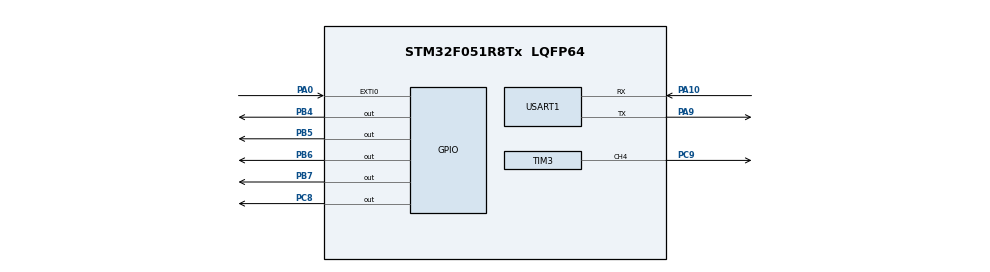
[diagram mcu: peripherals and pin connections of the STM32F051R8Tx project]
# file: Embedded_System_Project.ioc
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Mcu.Family=STM32F0
Mcu.Name=STM32F051R8Tx
Mcu.Package=LQFP64
NVIC.EXTI0_1_IRQn=true\:0\:0\:false\:false\:true\:true\:true
NVIC.TIM15_IRQn=true\:0\:0\:false\:false\:true\:true\:true
NVIC.TIM3_IRQn=true\:0\:0\:false\:false\:true\:true\:true
NVIC.USART1_IRQn=true\:0\:0\:false\:false\:true\:true\:true
PA0.Signal=GPXTI0
PA10.Mode=Asynchronous
PA10.Signal=USART1_RX
PA9.Mode=Asynchronous
PA9.Signal=USART1_TX
PB4.Signal=GPIO_Output
PB5.Signal=GPIO_Output
PB6.Signal=GPIO_Output
PB7.Signal=GPIO_Output
PC8.Signal=GPIO_Output
PC9.Signal=S_TIM3_CH4
ProjectManager.HeapSize=0x200
ProjectManager.StackSize=0x400
ProjectManager.TargetToolchain=SW4STM32
SH.S_TIM3_CH4.0=TIM3_CH4,PWM Generation4 CH4
TIM15.AutoReloadPreload=TIM_AUTORELOAD_PRELOAD_ENABLE
TIM15.ClockDivision=TIM_CLOCKDIVISION_DIV1
TIM15.Period=250
TIM15.Prescaler=78
TIM3.AutoReloadPreload=TIM_AUTORELOAD_PRELOAD_ENABLE
TIM3.Channel-PWM\ Generation4\ CH4=TIM_CHANNEL_4
TIM3.ClockDivision=TIM_CLOCKDIVISION_DIV1
TIM3.Period=100
TIM3.Prescaler=60
USART1.VirtualMode-Asynchronous=VM_ASYNC
VP_TIM15_VS_ClockSourceINT.Mode=Internal
VP_TIM3_VS_ClockSourceINT.Mode=Internal
board=custom

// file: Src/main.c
/* USER CODE BEGIN Header */
/**
  ******************************************************************************
  * @file           : main.c
  * @brief          : Main program body
  ******************************************************************************
  * @attention
  *
  * <h2><center>&copy; Copyright (c) 2020 STMicroelectronics.
  * All rights reserved.</center></h2>
  *
  * This software component is licensed by ST under BSD 3-Clause license,
  * the "License"; You may not use this file except in compliance with the
  * License. You may obtain a copy of the License at:
  *                        opensource.org/licenses/BSD-3-Clause
  *
  ******************************************************************************
  */
/* USER CODE END Header */

#include "main.h"

/* USER CODE BEGIN PD */
#define PWM_MIN 10
#define PWM_MAX 100
#define PWM_MIN_CHANGE 10
/* USER CODE END PD */

TIM_HandleTypeDef htim3;
TIM_HandleTypeDef htim15;

UART_HandleTypeDef huart1;

/* USER CODE BEGIN PV */
uint8_t led_duty = 10;           //Duty of green LED (controlled by push button interrupts)

uint8_t uart_data[4];            //Buffer to receive data via UART1; its used to control stepper motor

//Stepper motor
uint8_t motor_phase_number = 0;  //Number of phase used to control stepper motor (0, 1, 2, 3)
uint8_t motor_direction = 0;     //0 => counter clockwise; 1 => clockwise
uint16_t motor_step_number = 0;  //Number of steps, which stepper motor
                                 //should make according to command received via UART
uint16_t motor_current_step = 0; //Current step number
/* USER CODE END PV */

void SystemClock_Config(void);
static void MX_GPIO_Init(void);
static void MX_TIM15_Init(void);
static void MX_USART1_UART_Init(void);
static void MX_TIM3_Init(void);
/* USER CODE BEGIN PFP */

//Push button 1 (USER) interrupt
void HAL_GPIO_EXTI_Callback(uint16_t GPIO_Pin);
//UART 1 receive interrupt
void HAL_UART_RxCpltCallback(UART_HandleTypeDef *huart);
//0.25 step of stepper motor
void stepperMotorQuarterStep(uint8_t* phase_number, uint8_t* direction);
//Timer 15 interrupt (indicates stepper motor steps frequency)
void HAL_TIM_PeriodElapsedCallback(TIM_HandleTypeDef *htim);

/* USER CODE END PFP */

/* USER CODE BEGIN 0 */

//Push button 1 (USER) interrupt
//Duty starts at PWM_MIN
//Increases duty by PWM_MIN_CHANGE each time user pushes the push button
//After reaching PWM_MAX, next push decreases duty to PWM_MIN
void HAL_GPIO_EXTI_Callback(uint16_t GPIO_Pin) {
	if (led_duty < PWM_MAX) {
		led_duty += PWM_MIN_CHANGE;
		__HAL_TIM_SET_COMPARE(&htim3, TIM_CHANNEL_4, led_duty);
	} else {
		led_duty = PWM_MIN;
		__HAL_TIM_SET_COMPARE(&htim3, TIM_CHANNEL_4, led_duty);
	}
}

//UART 1 receive interrupt
//UART receives messages from user
//Each message contains of 4 characters:
//1st character is a letter, which determines motor_direction
//2nd-4th characters are digits, which determine motor_step_number
void HAL_UART_RxCpltCallback(UART_HandleTypeDef *huart) {
	//Receive message uart_data, which consists of 4 bytes
	HAL_UART_Receive_IT(&huart1, &uart_data, 4);

	//Set direction to counter clockwise
	if(uart_data[0] == 'L') {
		motor_direction = 0;
	}
	//Set direction to clockwise
	else if(uart_data[0] == 'R') {
		motor_direction = 1;
	}
	//Invalid command to control a stepper motor
	else {
		/*printf("[DEBUG, ERROR] Invalid command to control a stepper motor\n");
		printf("[DEBUG, INFO] First letter (L or R) decide on direction, in which stepper motor rotates\n");
		printf("[DEBUG, INFO] L => counter clockwise; R => clockwise\n");
		printf("[DEBUG, INFO] After letter provide 3 digit number to determine number of steps\n");
		printf("[DEBUG, INFO] R001 => 1 step in clockwise direction\n");
		printf("[DEBUG, INFO] L199 => 199 steps in counter clockwise direction\n");*/
		return; //I assume there are no other types of commands
	}

	//Reset step_number and current_step before proceeding
	motor_step_number = 0;
	motor_current_step = 0;

	//Get number of steps from uart_data
	for (uint8_t i = 1; i < 4; i++) {
		if(uart_data[i] < 10) {
			motor_step_number += uart_data[i] * 10^(3-i);
		}
		else {
			/*printf("[ERROR] Number of steps contain not only digits (0-9)\n");
			printf("[INFO] Send a proper command\n");*/
			return;
		}
	}
}

//0.25 step of stepper motor
void stepperMotorQuarterStep(uint8_t* phase_number, uint8_t* direction) {

	//Counter clockwise
	if (*direction == 0) {
		switch(*phase_number) {
		case 0:
			HAL_GPIO_WritePin(GPIOB, GPIO_PIN_7, GPIO_PIN_RESET); //Stepper motor IN1
			HAL_GPIO_WritePin(GPIOB, GPIO_PIN_6, GPIO_PIN_RESET); //Stepper motor IN2
			HAL_GPIO_WritePin(GPIOB, GPIO_PIN_5, GPIO_PIN_RESET); //Stepper motor IN3
			HAL_GPIO_WritePin(GPIOB, GPIO_PIN_4, GPIO_PIN_SET);   //Stepper motor IN4
			break;
		case 1:
			HAL_GPIO_WritePin(GPIOB, GPIO_PIN_7, GPIO_PIN_RESET); //Stepper motor IN1
			HAL_GPIO_WritePin(GPIOB, GPIO_PIN_6, GPIO_PIN_RESET); //Stepper motor IN2
			HAL_GPIO_WritePin(GPIOB, GPIO_PIN_5, GPIO_PIN_SET);   //Stepper motor IN3
			HAL_GPIO_WritePin(GPIOB, GPIO_PIN_4, GPIO_PIN_RESET); //Stepper motor IN4
			break;
		case 2:
			HAL_GPIO_WritePin(GPIOB, GPIO_PIN_7, GPIO_PIN_RESET); //Stepper motor IN1
			HAL_GPIO_WritePin(GPIOB, GPIO_PIN_6, GPIO_PIN_SET);   //Stepper motor IN2
			HAL_GPIO_WritePin(GPIOB, GPIO_PIN_5, GPIO_PIN_RESET); //Stepper motor IN3
			HAL_GPIO_WritePin(GPIOB, GPIO_PIN_4, GPIO_PIN_RESET); //Stepper motor IN4
			break;
		case 3:
			HAL_GPIO_WritePin(GPIOB, GPIO_PIN_7, GPIO_PIN_SET);   //Stepper motor IN1
			HAL_GPIO_WritePin(GPIOB, GPIO_PIN_6, GPIO_PIN_RESET); //Stepper motor IN2
			HAL_GPIO_WritePin(GPIOB, GPIO_PIN_5, GPIO_PIN_RESET); //Stepper motor IN3
			HAL_GPIO_WritePin(GPIOB, GPIO_PIN_4, GPIO_PIN_RESET); //Stepper motor IN4
			break;
		}
	}

	//Clockwise
		if (*direction == 1) {
			switch(*phase_number) {
			case 0:
				HAL_GPIO_WritePin(GPIOB, GPIO_PIN_7, GPIO_PIN_SET);   //Stepper motor IN1
				HAL_GPIO_WritePin(GPIOB, GPIO_PIN_6, GPIO_PIN_RESET); //Stepper motor IN2
				HAL_GPIO_WritePin(GPIOB, GPIO_PIN_5, GPIO_PIN_RESET); //Stepper motor IN3
				HAL_GPIO_WritePin(GPIOB, GPIO_PIN_4, GPIO_PIN_RESET); //Stepper motor IN4
				break;
			case 1:
				HAL_GPIO_WritePin(GPIOB, GPIO_PIN_7, GPIO_PIN_RESET); //Stepper motor IN1
				HAL_GPIO_WritePin(GPIOB, GPIO_PIN_6, GPIO_PIN_SET);   //Stepper motor IN2
				HAL_GPIO_WritePin(GPIOB, GPIO_PIN_5, GPIO_PIN_RESET); //Stepper motor IN3
				HAL_GPIO_WritePin(GPIOB, GPIO_PIN_4, GPIO_PIN_RESET); //Stepper motor IN4
				break;
			case 2:
				HAL_GPIO_WritePin(GPIOB, GPIO_PIN_7, GPIO_PIN_RESET); //Stepper motor IN1
				HAL_GPIO_WritePin(GPIOB, GPIO_PIN_6, GPIO_PIN_RESET); //Stepper motor IN2
				HAL_GPIO_WritePin(GPIOB, GPIO_PIN_5, GPIO_PIN_SET);   //Stepper motor IN3
				HAL_GPIO_WritePin(GPIOB, GPIO_PIN_4, GPIO_PIN_RESET); //Stepper motor IN4
				break;
			case 3:
				HAL_GPIO_WritePin(GPIOB, GPIO_PIN_7, GPIO_PIN_RESET); //Stepper motor IN1
				HAL_GPIO_WritePin(GPIOB, GPIO_PIN_6, GPIO_PIN_RESET); //Stepper motor IN2
				HAL_GPIO_WritePin(GPIOB, GPIO_PIN_5, GPIO_PIN_RESET); //Stepper motor IN3
				HAL_GPIO_WritePin(GPIOB, GPIO_PIN_4, GPIO_PIN_SET);   //Stepper motor IN4
				break;
			}
		}
}

//Timer 15 interrupt (indicates stepper motor steps frequency)
void HAL_TIM_PeriodElapsedCallback(TIM_HandleTypeDef *htim) {
	if(htim->Instance == TIM15) {
		if(motor_current_step < motor_step_number) {
			stepperMotorQuarterStep(&motor_phase_number, &motor_direction);
			motor_phase_number++;
			if (motor_phase_number > 3) {
				motor_phase_number = 0;
				motor_current_step += 1;
			}
		}
	}
}

/* USER CODE END 0 */

int main(void)
{

  /* MCU Configuration--------------------------------------------------------*/

  /* Reset of all peripherals, Initializes the Flash interface and the Systick. */
  HAL_Init();

  /* Configure the system clock */
  SystemClock_Config();

  /* Initialize all configured peripherals */
  MX_GPIO_Init();
  MX_TIM15_Init();
  MX_USART1_UART_Init();
  MX_TIM3_Init();
  /* USER CODE BEGIN 2 */
  HAL_TIM_PWM_Start(&htim3, TIM_CHANNEL_4); //Generates PWM signal on channel 4 timer 3
  HAL_TIM_Base_Start_IT(&htim15);           //Starts timer 15
  /* USER CODE END 2 */

  /* Infinite loop */
  while (1)
  {

  }
}

void SystemClock_Config(void)
{
  RCC_OscInitTypeDef RCC_OscInitStruct = {0};
  RCC_ClkInitTypeDef RCC_ClkInitStruct = {0};
  RCC_PeriphCLKInitTypeDef PeriphClkInit = {0};

  /** Initializes the CPU, AHB and APB busses clocks
  */
  RCC_OscInitStruct.OscillatorType = RCC_OSCILLATORTYPE_HSI;
  RCC_OscInitStruct.HSIState = RCC_HSI_ON;
  RCC_OscInitStruct.HSICalibrationValue = RCC_HSICALIBRATION_DEFAULT;
  RCC_OscInitStruct.PLL.PLLState = RCC_PLL_NONE;
  if (HAL_RCC_OscConfig(&RCC_OscInitStruct) != HAL_OK)
  {
    Error_Handler();
  }
  /** Initializes the CPU, AHB and APB busses clocks
  */
  RCC_ClkInitStruct.ClockType = RCC_CLOCKTYPE_HCLK|RCC_CLOCKTYPE_SYSCLK
                              |RCC_CLOCKTYPE_PCLK1;
  RCC_ClkInitStruct.SYSCLKSource = RCC_SYSCLKSOURCE_HSI;
  RCC_ClkInitStruct.AHBCLKDivider = RCC_SYSCLK_DIV1;
  RCC_ClkInitStruct.APB1CLKDivider = RCC_HCLK_DIV1;

  if (HAL_RCC_ClockConfig(&RCC_ClkInitStruct, FLASH_LATENCY_0) != HAL_OK)
  {
    Error_Handler();
  }
  PeriphClkInit.PeriphClockSelection = RCC_PERIPHCLK_USART1;
  PeriphClkInit.Usart1ClockSelection = RCC_USART1CLKSOURCE_PCLK1;
  if (HAL_RCCEx_PeriphCLKConfig(&PeriphClkInit) != HAL_OK)
  {
    Error_Handler();
  }
}

static void MX_TIM3_Init(void)
{

  TIM_ClockConfigTypeDef sClockSourceConfig = {0};
  TIM_MasterConfigTypeDef sMasterConfig = {0};
  TIM_OC_InitTypeDef sConfigOC = {0};

  htim3.Instance = TIM3;
  htim3.Init.Prescaler = 60;
  htim3.Init.CounterMode = TIM_COUNTERMODE_UP;
  htim3.Init.Period = 100;
  htim3.Init.ClockDivision = TIM_CLOCKDIVISION_DIV1;
  htim3.Init.AutoReloadPreload = TIM_AUTORELOAD_PRELOAD_ENABLE;
  if (HAL_TIM_Base_Init(&htim3) != HAL_OK)
  {
    Error_Handler();
  }
  sClockSourceConfig.ClockSource = TIM_CLOCKSOURCE_INTERNAL;
  if (HAL_TIM_ConfigClockSource(&htim3, &sClockSourceConfig) != HAL_OK)
  {
    Error_Handler();
  }
  if (HAL_TIM_PWM_Init(&htim3) != HAL_OK)
  {
    Error_Handler();
  }
  sMasterConfig.MasterOutputTrigger = TIM_TRGO_RESET;
  sMasterConfig.MasterSlaveMode = TIM_MASTERSLAVEMODE_DISABLE;
  if (HAL_TIMEx_MasterConfigSynchronization(&htim3, &sMasterConfig) != HAL_OK)
  {
    Error_Handler();
  }
  sConfigOC.OCMode = TIM_OCMODE_PWM1;
  sConfigOC.Pulse = 0;
  sConfigOC.OCPolarity = TIM_OCPOLARITY_HIGH;
  sConfigOC.OCFastMode = TIM_OCFAST_DISABLE;
  if (HAL_TIM_PWM_ConfigChannel(&htim3, &sConfigOC, TIM_CHANNEL_4) != HAL_OK)
  {
    Error_Handler();
  }
  HAL_TIM_MspPostInit(&htim3);

}

static void MX_TIM15_Init(void)
{

  TIM_ClockConfigTypeDef sClockSourceConfig = {0};
  TIM_MasterConfigTypeDef sMasterConfig = {0};

  htim15.Instance = TIM15;
  htim15.Init.Prescaler = 78;
  htim15.Init.CounterMode = TIM_COUNTERMODE_UP;
  htim15.Init.Period = 250;
  htim15.Init.ClockDivision = TIM_CLOCKDIVISION_DIV1;
  htim15.Init.RepetitionCounter = 0;
  htim15.Init.AutoReloadPreload = TIM_AUTORELOAD_PRELOAD_ENABLE;
  if (HAL_TIM_Base_Init(&htim15) != HAL_OK)
  {
    Error_Handler();
  }
  sClockSourceConfig.ClockSource = TIM_CLOCKSOURCE_INTERNAL;
  if (HAL_TIM_ConfigClockSource(&htim15, &sClockSourceConfig) != HAL_OK)
  {
    Error_Handler();
  }
  sMasterConfig.MasterOutputTrigger = TIM_TRGO_RESET;
  sMasterConfig.MasterSlaveMode = TIM_MASTERSLAVEMODE_DISABLE;
  if (HAL_TIMEx_MasterConfigSynchronization(&htim15, &sMasterConfig) != HAL_OK)
  {
    Error_Handler();
  }

}

static void MX_USART1_UART_Init(void)
{

  huart1.Instance = USART1;
  huart1.Init.BaudRate = 38400;
  huart1.Init.WordLength = UART_WORDLENGTH_8B;
  huart1.Init.StopBits = UART_STOPBITS_1;
  huart1.Init.Parity = UART_PARITY_NONE;
  huart1.Init.Mode = UART_MODE_TX_RX;
  huart1.Init.HwFlowCtl = UART_HWCONTROL_NONE;
  huart1.Init.OverSampling = UART_OVERSAMPLING_16;
  huart1.Init.OneBitSampling = UART_ONE_BIT_SAMPLE_DISABLE;
  huart1.AdvancedInit.AdvFeatureInit = UART_ADVFEATURE_NO_INIT;
  if (HAL_UART_Init(&huart1) != HAL_OK)
  {
    Error_Handler();
  }

}

static void MX_GPIO_Init(void)
{
  GPIO_InitTypeDef GPIO_InitStruct = {0};

  /* GPIO Ports Clock Enable */
  __HAL_RCC_GPIOA_CLK_ENABLE();
  __HAL_RCC_GPIOC_CLK_ENABLE();
  __HAL_RCC_GPIOB_CLK_ENABLE();

  /*Configure GPIO pin Output Level */
  HAL_GPIO_WritePin(GPIOC, GPIO_PIN_8, GPIO_PIN_RESET);

  /*Configure GPIO pin Output Level */
  HAL_GPIO_WritePin(GPIOB, GPIO_PIN_4|GPIO_PIN_5|GPIO_PIN_6|GPIO_PIN_7, GPIO_PIN_RESET);

  /*Configure GPIO pin : PA0 */
  GPIO_InitStruct.Pin = GPIO_PIN_0;
  GPIO_InitStruct.Mode = GPIO_MODE_IT_RISING;
  GPIO_InitStruct.Pull = GPIO_NOPULL;
  HAL_GPIO_Init(GPIOA, &GPIO_InitStruct);

  /*Configure GPIO pin : PC8 */
  GPIO_InitStruct.Pin = GPIO_PIN_8;
  GPIO_InitStruct.Mode = GPIO_MODE_OUTPUT_PP;
  GPIO_InitStruct.Pull = GPIO_NOPULL;
  GPIO_InitStruct.Speed = GPIO_SPEED_FREQ_LOW;
  HAL_GPIO_Init(GPIOC, &GPIO_InitStruct);

  /*Configure GPIO pins : PB4 PB5 PB6 PB7 */
  GPIO_InitStruct.Pin = GPIO_PIN_4|GPIO_PIN_5|GPIO_PIN_6|GPIO_PIN_7;
  GPIO_InitStruct.Mode = GPIO_MODE_OUTPUT_PP;
  GPIO_InitStruct.Pull = GPIO_NOPULL;
  GPIO_InitStruct.Speed = GPIO_SPEED_FREQ_LOW;
  HAL_GPIO_Init(GPIOB, &GPIO_InitStruct);

  /* EXTI interrupt init*/
  HAL_NVIC_SetPriority(EXTI0_1_IRQn, 0, 0);
  HAL_NVIC_EnableIRQ(EXTI0_1_IRQn);

}

void Error_Handler(void)
{
}

/************************ (C) COPYRIGHT STMicroelectronics *****END OF FILE****/
